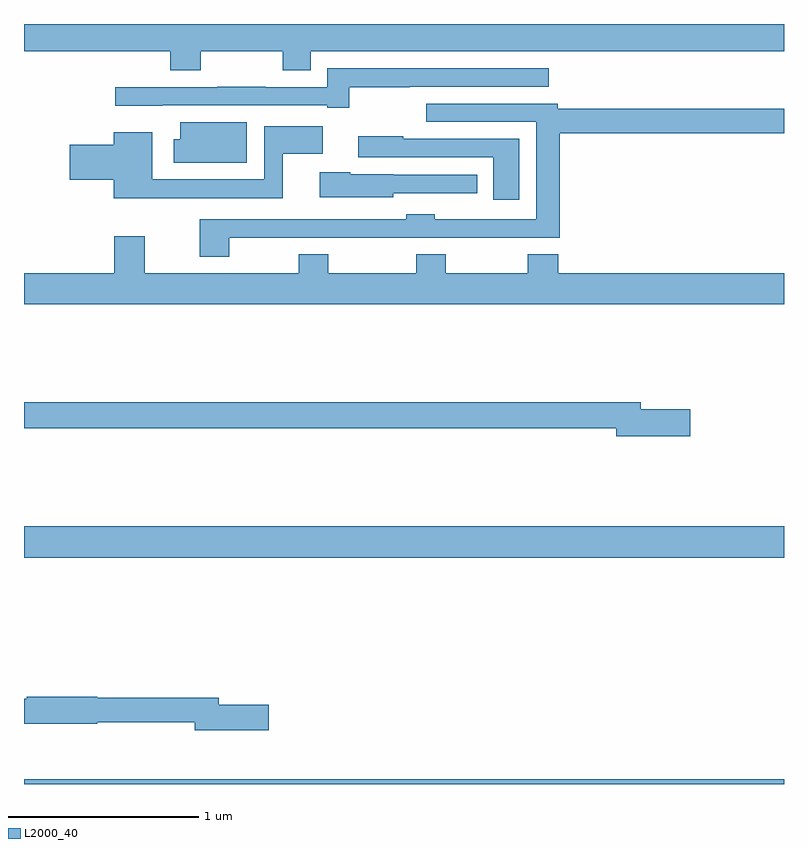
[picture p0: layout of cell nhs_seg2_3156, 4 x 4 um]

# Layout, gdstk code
import gdstk
lib = gdstk.Library(unit=1e-6, precision=1e-09)
def R(c, l, rs):  # rectangles x0, y0, x1, y1
    for r in rs: c.add(gdstk.rectangle(r[:2], r[2:], *l))
def P(c, l, *ps):  # polygons
    for p in ps: c.add(gdstk.Polygon(p, *l))
L2000_40 = (2000, 40)

nhs_seg2_3156 = lib.new_cell('nhs_seg2_3156')
R(nhs_seg2_3156, L2000_40, [(277,623.8,281,623.824), (277,624.992,281,625.156)])
P(nhs_seg2_3156, L2000_40, [(277.929,627.656),(278.362,627.656),(278.362,627.557),(278.509,627.557),(278.509,627.656),(281,627.656),(281,627.8),(277,627.8),(277,627.656),(277.769,627.656),(277.769,627.557),(277.929,627.557)],
  [(278.711,627.466),(279.029,627.466),(279.029,627.471),(279.763,627.471),(279.763,627.567),(278.597,627.567),(278.597,627.468),(278.273,627.468),(278.273,627.47),(278.017,627.47),(278.017,627.468),(277.479,627.468),(277.479,627.371),(277.727,627.371),(277.727,627.372),(278.597,627.372),(278.597,627.36),(278.711,627.36)],
  [(278.079,626.675),(278.357,626.675),(278.357,626.676),(278.689,626.676),(278.689,626.675),(279.821,626.675),(279.821,627.226),(281,627.226),(281,627.355),(279.808,627.355),(279.808,627.381),(279.117,627.381),(279.117,627.285),(279.695,627.285),(279.695,626.772),(279.374,626.772),(279.374,626.773),(279.162,626.773),(279.162,626.8),(279.012,626.8),(279.012,626.772),(277.924,626.772),(277.924,626.574),(278.079,626.574)],
  [(278.173,627.283),(277.823,627.283),(277.823,627.193),(277.787,627.193),(277.787,627.071),(278.173,627.071)],
  [(278.363,627.116),(278.572,627.116),(278.572,627.262),(278.265,627.262),(278.265,626.983),(277.675,626.983),(277.675,627.229),(277.472,627.229),(277.472,627.164),(277.242,627.164),(277.242,626.981),(277.472,626.981),(277.472,626.882),(278.363,626.882)],
  [(279.607,627.195),(278.995,627.195),(278.995,627.208),(278.759,627.208),(278.759,627.099),(279.47,627.099),(279.47,626.874),(279.607,626.874)],
  [(278.943,626.91),(279.385,626.91),(279.385,627.006),(278.943,627.006),(278.943,627.01),(278.718,627.01),(278.718,627.021),(278.556,627.021),(278.556,626.888),(278.943,626.888)],
  [(281,626.488),(279.812,626.488),(279.812,626.587),(279.652,626.587),(279.652,626.488),(279.219,626.488),(279.219,626.587),(279.064,626.587),(279.064,626.488),(278.601,626.488),(278.601,626.587),(278.446,626.587),(278.446,626.488),(277.635,626.488),(277.635,626.683),(277.475,626.683),(277.475,626.488),(277,626.488),(277,626.324),(281,626.324)],
  [(280.507,625.772),(280.246,625.772),(280.246,625.808),(277,625.808),(277,625.672),(280.118,625.672),(280.118,625.63),(280.507,625.63)],
  [(278.287,624.218),(278.026,624.218),(278.026,624.254),(277.386,624.254),(277.386,624.26),(277.014,624.26),(277.014,624.248),(277,624.248),(277,624.118),(277.386,624.118),(277.386,624.126),(277.898,624.126),(277.898,624.083),(278.287,624.083)])

lib.write_gds('nhs_seg2_3156.gds')
